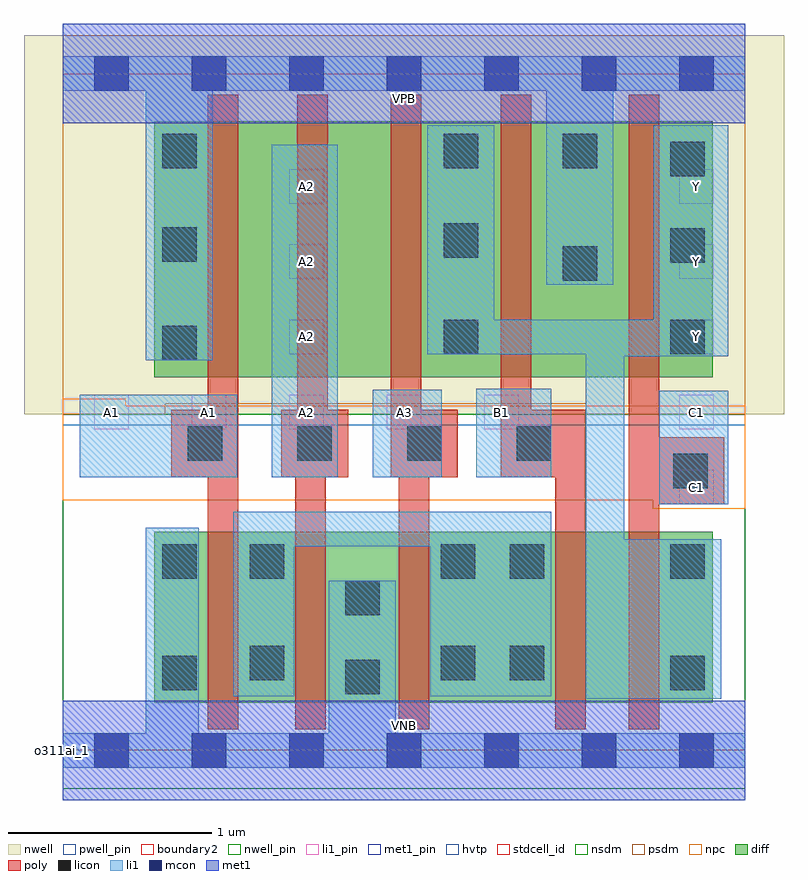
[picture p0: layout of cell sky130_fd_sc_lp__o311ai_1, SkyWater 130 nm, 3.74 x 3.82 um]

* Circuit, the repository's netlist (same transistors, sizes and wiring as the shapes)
* Copyright 2020 The SkyWater PDK Authors
*
* Licensed under the Apache License, Version 2.0 (the "License");
* you may not use this file except in compliance with the License.
* You may obtain a copy of the License at
*
*     https://www.apache.org/licenses/LICENSE-2.0
*
* Unless required by applicable law or agreed to in writing, software
* distributed under the License is distributed on an "AS IS" BASIS,
* WITHOUT WARRANTIES OR CONDITIONS OF ANY KIND, either express or implied.
* See the License for the specific language governing permissions and
* limitations under the License.
*
* SPDX-License-Identifier: Apache-2.0

.SUBCKT sky130_fd_sc_lp__o311ai_1 A1 A2 A3 B1 C1 VGND VNB VPB VPWR Y
*.PININFO A1:I A2:I A3:I B1:I C1:I VGND:I VNB:I VPB:I VPWR:I Y:O
MMPA0 VPWR A1 sndA1 VPB sky130_fd_pr__pfet_01v8_hvt m=1 w=1.26U l=0.15U mult=1
+ sa=0.265 sb=0.265 sd=0.28 area=0.063 perim=1.14
MMPA1 sndA1 A2 sndA2 VPB sky130_fd_pr__pfet_01v8_hvt m=1 w=1.26U l=0.15U mult=1
+ sa=0.265 sb=0.265 sd=0.28 area=0.063 perim=1.14
MMPA2 sndA2 A3 Y VPB sky130_fd_pr__pfet_01v8_hvt m=1 w=1.26U l=0.15U mult=1 sa=0.265
+ sb=0.265 sd=0.28 area=0.063 perim=1.14
MMPB0 VPWR B1 Y VPB sky130_fd_pr__pfet_01v8_hvt m=1 w=1.26U l=0.15U mult=1 sa=0.265
+ sb=0.265 sd=0.28 area=0.063 perim=1.14
MMPC0 VPWR C1 Y VPB sky130_fd_pr__pfet_01v8_hvt m=1 w=1.26U l=0.15U mult=1 sa=0.265
+ sb=0.265 sd=0.28 area=0.063 perim=1.14
MMNA0 pndA A1 VGND VNB sky130_fd_pr__nfet_01v8 m=1 w=0.84U l=0.15U mult=1 sa=0.265
+ sb=0.265 sd=0.28 area=0.063 perim=1.14
MMNA1 pndA A2 VGND VNB sky130_fd_pr__nfet_01v8 m=1 w=0.84U l=0.15U mult=1 sa=0.265
+ sb=0.265 sd=0.28 area=0.063 perim=1.14
MMNA2 pndA A3 VGND VNB sky130_fd_pr__nfet_01v8 m=1 w=0.84U l=0.15U mult=1 sa=0.265
+ sb=0.265 sd=0.28 area=0.063 perim=1.14
MMNB0 pndB B1 pndA VNB sky130_fd_pr__nfet_01v8 m=1 w=0.84U l=0.15U mult=1 sa=0.265
+ sb=0.265 sd=0.28 area=0.063 perim=1.14
MMNC0 Y C1 pndB VNB sky130_fd_pr__nfet_01v8 m=1 w=0.84U l=0.15U mult=1 sa=0.265
+ sb=0.265 sd=0.28 area=0.063 perim=1.14
.ENDS sky130_fd_sc_lp__o311ai_1

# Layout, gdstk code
import gdstk
lib = gdstk.Library(unit=1e-6, precision=1e-09)
def R(c, l, rs):  # rectangles x0, y0, x1, y1
    for r in rs: c.add(gdstk.rectangle(r[:2], r[2:], *l))
def A(c, l, x, y, w, h, nx, ny, dx, dy):  # array of equal rectangles
    R(c, l, [(x+i*dx, y+j*dy, x+i*dx+w, y+j*dy+h) for i in range(nx) for j in range(ny)])
def P(c, l, *ps):  # polygons
    for p in ps: c.add(gdstk.Polygon(p, *l))
nwell_pin = (64, 16)
nwell = (64, 20)
diff = (65, 20)
poly = (66, 20)
licon = (66, 44)
li1_pin = (67, 16)
li1 = (67, 20)
mcon = (67, 44)
met1_pin = (68, 16)
met1 = (68, 20)
hvtp = (78, 44)
stdcell_id = (81, 4)
nsdm = (93, 44)
psdm = (94, 20)
npc = (95, 20)
pwell_pin = (122, 16)
boundary2 = (236, 0)

sky130_fd_sc_lp__o311ai_ = lib.new_cell('sky130_fd_sc_lp__o311ai_1')
R(sky130_fd_sc_lp__o311ai_, nwell_pin, [(0,3.085,3.36,3.33)])
R(sky130_fd_sc_lp__o311ai_, nwell, [(-0.19,1.655,3.55,3.52)])
R(sky130_fd_sc_lp__o311ai_, diff, [(0.45,0.235,3.2,1.075), (0.45,1.835,3.2,3.095)])
P(sky130_fd_sc_lp__o311ai_, poly, [(0.865,3.225),(0.715,3.225),(0.715,1.675),(0.535,1.675),(0.535,1.345),(0.715,1.345),(0.715,0.105),(0.865,0.105)],
  [(1.405,1.675),(1.305,1.675),(1.305,3.225),(1.155,3.225),(1.155,1.675),(1.075,1.675),(1.075,1.345),(1.145,1.345),(1.145,0.105),(1.295,0.105),(1.295,1.345),(1.405,1.345)],
  [(3.255,1.54),(2.935,1.54),(2.935,3.225),(2.785,3.225),(2.785,0.105),(2.935,0.105),(2.935,1.21),(3.255,1.21)],
  [(2.575,1.675),(2.305,1.675),(2.305,3.225),(2.155,3.225),(2.155,1.345),(2.425,1.345),(2.425,0.105),(2.575,0.105)],
  [(1.945,1.675),(1.765,1.675),(1.765,3.225),(1.615,3.225),(1.615,1.345),(1.655,1.345),(1.655,0.105),(1.805,0.105),(1.805,1.345),(1.945,1.345)])
A(sky130_fd_sc_lp__o311ai_, licon, 0.615, 1.425, 0.17, 0.17, 4, 1, 0.54, 0)
R(sky130_fd_sc_lp__o311ai_, licon, [(1.39,0.275,1.56,0.445), (0.49,0.295,0.66,0.465), (2.99,0.295,3.16,0.465), (0.92,0.345,1.09,0.515), (1.86,0.345,2.03,0.515), (2.2,0.345,2.37,0.515), (1.39,0.665,1.56,0.835), (0.49,0.845,0.66,1.015), (0.92,0.845,1.09,1.015), (1.86,0.845,2.03,1.015), (2.2,0.845,2.37,1.015), (2.99,0.845,3.16,1.015), (3.005,1.29,3.175,1.46), (0.49,1.92,0.66,2.09), (1.875,1.95,2.045,2.12), (2.99,1.95,3.16,2.12), (2.46,2.31,2.63,2.48), (2.99,2.4,3.16,2.57), (0.49,2.405,0.66,2.575), (1.875,2.425,2.045,2.595), (2.99,2.825,3.16,2.995), (0.49,2.865,0.66,3.035), (1.875,2.865,2.045,3.035), (2.46,2.865,2.63,3.035)])
A(sky130_fd_sc_lp__o311ai_, li1_pin, 3.035, 1.21, 0.17, 0.17, 1, 5, 0, 0.37)
A(sky130_fd_sc_lp__o311ai_, li1_pin, 0.155, 1.58, 0.17, 0.17, 5, 1, 0.48, 0)
A(sky130_fd_sc_lp__o311ai_, li1_pin, 1.115, 1.95, 0.17, 0.17, 1, 3, 0, 0.37)
R(sky130_fd_sc_lp__o311ai_, li1, [(2.935,1.21,3.275,1.77), (0.085,1.345,0.86,1.75), (1.03,1.345,1.355,2.98), (1.525,1.345,1.865,1.775), (2.035,1.345,2.405,1.78)])
P(sky130_fd_sc_lp__o311ai_, li1, [(3.36,3.415),(0,3.415),(0,3.245),(0.41,3.245),(0.41,1.92),(0.74,1.92),(0.74,3.245),(2.38,3.245),(2.38,2.29),(2.71,2.29),(2.71,3.245),(3.36,3.245)],
  [(3.36,0.085),(1.64,0.085),(1.64,0.835),(1.31,0.835),(1.31,0.085),(0.67,0.085),(0.67,1.095),(0.41,1.095),(0.41,0.085),(0,0.085),(0,-0.085),(3.36,-0.085)],
  [(3.275,3.075),(2.91,3.075),(2.91,2.12),(2.125,2.12),(2.125,3.075),(1.795,3.075),(1.795,1.95),(2.575,1.95),(2.575,0.255),(3.24,0.255),(3.24,1.04),(2.765,1.04),(2.765,1.94),(3.275,1.94)],
  [(2.405,1.175),(0.84,1.175),(0.84,0.265),(1.14,0.265),(1.14,1.005),(1.81,1.005),(1.81,0.265),(2.405,0.265)])
A(sky130_fd_sc_lp__o311ai_, mcon, 0.155, -0.085, 0.17, 0.17, 7, 2, 0.48, 3.33)
R(sky130_fd_sc_lp__o311ai_, met1_pin, [(0,0,3.36,0.245), (0,3.085,3.36,3.33)])
R(sky130_fd_sc_lp__o311ai_, met1, [(0,-0.245,3.36,0.245), (0,3.085,3.36,3.575)])
R(sky130_fd_sc_lp__o311ai_, hvtp, [(0,1.6,3.36,3.33)])
R(sky130_fd_sc_lp__o311ai_, stdcell_id, [(0,0,3.36,3.33)])
R(sky130_fd_sc_lp__o311ai_, nsdm, [(0,-0.19,3.36,1.655)])
P(sky130_fd_sc_lp__o311ai_, psdm, [(3.36,3.52),(0,3.52),(0,1.655),(0.505,1.655),(0.505,1.705),(2.575,1.705),(2.575,1.655),(3.36,1.655)])
P(sky130_fd_sc_lp__o311ai_, npc, [(3.36,1.695),(0.31,1.695),(0.31,1.73),(0,1.73),(0,1.23),(2.905,1.23),(2.905,1.19),(3.36,1.19)])
R(sky130_fd_sc_lp__o311ai_, pwell_pin, [(0,0,3.36,0.245)])
R(sky130_fd_sc_lp__o311ai_, boundary2, [(0,0,3.36,3.33)])
sky130_fd_sc_lp__o311ai_.add(gdstk.Label('VNB', (1.68,0.123), layer=64, texttype=59))
sky130_fd_sc_lp__o311ai_.add(gdstk.Label('VPB', (1.68,3.208), layer=64, texttype=5))
sky130_fd_sc_lp__o311ai_.add(gdstk.Label('o311ai_1', (0,0), layer=83, texttype=44))
sky130_fd_sc_lp__o311ai_.add(gdstk.Label('VPWR', (1.68,3.208), layer=68, texttype=5))
sky130_fd_sc_lp__o311ai_.add(gdstk.Label('VGND', (1.68,0.123), layer=68, texttype=5))
sky130_fd_sc_lp__o311ai_.add(gdstk.Label('A1', (0.72,1.665), layer=67, texttype=5))
sky130_fd_sc_lp__o311ai_.add(gdstk.Label('A2', (1.2,1.665), layer=67, texttype=5))
sky130_fd_sc_lp__o311ai_.add(gdstk.Label('A3', (1.68,1.665), layer=67, texttype=5))
sky130_fd_sc_lp__o311ai_.add(gdstk.Label('Y', (3.12,2.405), layer=67, texttype=5))
sky130_fd_sc_lp__o311ai_.add(gdstk.Label('Y', (3.12,2.775), layer=67, texttype=5))
sky130_fd_sc_lp__o311ai_.add(gdstk.Label('Y', (3.12,2.035), layer=67, texttype=5))
sky130_fd_sc_lp__o311ai_.add(gdstk.Label('B1', (2.16,1.665), layer=67, texttype=5))
sky130_fd_sc_lp__o311ai_.add(gdstk.Label('C1', (3.12,1.295), layer=67, texttype=5))
sky130_fd_sc_lp__o311ai_.add(gdstk.Label('C1', (3.12,1.665), layer=67, texttype=5))
sky130_fd_sc_lp__o311ai_.add(gdstk.Label('A1', (0.24,1.665), layer=67, texttype=5))
sky130_fd_sc_lp__o311ai_.add(gdstk.Label('A2', (1.2,2.775), layer=67, texttype=5))
sky130_fd_sc_lp__o311ai_.add(gdstk.Label('A2', (1.2,2.405), layer=67, texttype=5))
sky130_fd_sc_lp__o311ai_.add(gdstk.Label('A2', (1.2,2.035), layer=67, texttype=5))

lib.write_gds('sky130_fd_sc_lp__o311ai_1.gds')
